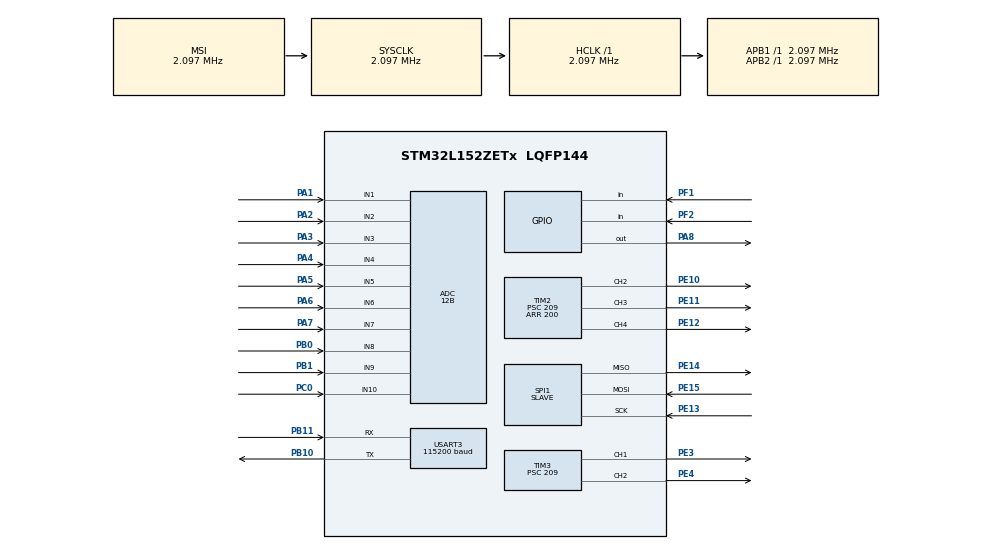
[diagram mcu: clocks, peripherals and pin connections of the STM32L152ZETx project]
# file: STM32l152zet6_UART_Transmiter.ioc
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ADC.Channel-0\#ChannelRegularConversion=ADC_CHANNEL_1
ADC.Channel-10\#ChannelRegularConversion=ADC_CHANNEL_10
ADC.Channel-2\#ChannelRegularConversion=ADC_CHANNEL_2
ADC.Channel-3\#ChannelRegularConversion=ADC_CHANNEL_3
ADC.Channel-4\#ChannelRegularConversion=ADC_CHANNEL_4
ADC.Channel-5\#ChannelRegularConversion=ADC_CHANNEL_5
ADC.Channel-6\#ChannelRegularConversion=ADC_CHANNEL_6
ADC.Channel-7\#ChannelRegularConversion=ADC_CHANNEL_7
ADC.Channel-8\#ChannelRegularConversion=ADC_CHANNEL_8
ADC.Channel-9\#ChannelRegularConversion=ADC_CHANNEL_9
ADC.ChannelsBank=ADC_CHANNELS_BANK_A
ADC.ClockPrescaler=ADC_CLOCK_ASYNC_DIV1
ADC.ContinuousConvMode=ENABLE
ADC.DMAContinuousRequests=ENABLE
ADC.DataAlign=ADC_DATAALIGN_RIGHT
ADC.DiscontinuousConvMode=DISABLE
ADC.EOCSelection=ADC_EOC_SEQ_CONV
ADC.EnableAnalogWatchDog=false
ADC.ExternalTrigConv=ADC_SOFTWARE_START
ADC.ExternalTrigConvEdge=ADC_EXTERNALTRIGCONVEDGE_NONE
ADC.InjNumberOfConversion=0
ADC.LowPowerAutoPowerOff=ADC_AUTOPOWEROFF_DISABLE
ADC.LowPowerAutoWait=ADC_AUTOWAIT_DISABLE
ADC.NbrOfConversion=10
ADC.NbrOfConversionFlag=1
ADC.Rank-0\#ChannelRegularConversion=1
ADC.Rank-10\#ChannelRegularConversion=10
ADC.Rank-2\#ChannelRegularConversion=2
ADC.Rank-3\#ChannelRegularConversion=3
ADC.Rank-4\#ChannelRegularConversion=4
ADC.Rank-5\#ChannelRegularConversion=5
ADC.Rank-6\#ChannelRegularConversion=6
ADC.Rank-7\#ChannelRegularConversion=7
ADC.Rank-8\#ChannelRegularConversion=8
ADC.Rank-9\#ChannelRegularConversion=9
ADC.Resolution=ADC_RESOLUTION_12B
ADC.SamplingTime-0\#ChannelRegularConversion=ADC_SAMPLETIME_384CYCLES
ADC.SamplingTime-10\#ChannelRegularConversion=ADC_SAMPLETIME_384CYCLES
ADC.SamplingTime-2\#ChannelRegularConversion=ADC_SAMPLETIME_384CYCLES
ADC.SamplingTime-3\#ChannelRegularConversion=ADC_SAMPLETIME_384CYCLES
ADC.SamplingTime-4\#ChannelRegularConversion=ADC_SAMPLETIME_384CYCLES
ADC.SamplingTime-5\#ChannelRegularConversion=ADC_SAMPLETIME_384CYCLES
ADC.SamplingTime-6\#ChannelRegularConversion=ADC_SAMPLETIME_384CYCLES
ADC.SamplingTime-7\#ChannelRegularConversion=ADC_SAMPLETIME_384CYCLES
ADC.SamplingTime-8\#ChannelRegularConversion=ADC_SAMPLETIME_384CYCLES
ADC.SamplingTime-9\#ChannelRegularConversion=ADC_SAMPLETIME_384CYCLES
ADC.ScanConvMode=ADC_SCAN_ENABLE
Dma.ADC.2.Direction=DMA_PERIPH_TO_MEMORY
Dma.ADC.2.Instance=DMA1_Channel1
Dma.ADC.2.MemDataAlignment=DMA_MDATAALIGN_WORD
Dma.ADC.2.MemInc=DMA_MINC_ENABLE
Dma.ADC.2.Mode=DMA_CIRCULAR
Dma.ADC.2.PeriphDataAlignment=DMA_PDATAALIGN_WORD
Dma.ADC.2.PeriphInc=DMA_PINC_DISABLE
Dma.ADC.2.Priority=DMA_PRIORITY_LOW
Dma.Request0=SPI1_RX
Dma.Request1=USART3_RX
Dma.Request2=ADC
Dma.SPI1_RX.0.Direction=DMA_PERIPH_TO_MEMORY
Dma.SPI1_RX.0.Instance=DMA1_Channel2
Dma.SPI1_RX.0.MemDataAlignment=DMA_MDATAALIGN_BYTE
Dma.SPI1_RX.0.MemInc=DMA_MINC_ENABLE
Dma.SPI1_RX.0.Mode=DMA_CIRCULAR
Dma.SPI1_RX.0.PeriphDataAlignment=DMA_PDATAALIGN_BYTE
Dma.SPI1_RX.0.PeriphInc=DMA_PINC_DISABLE
Dma.SPI1_RX.0.Priority=DMA_PRIORITY_LOW
Dma.USART3_RX.1.Direction=DMA_PERIPH_TO_MEMORY
Dma.USART3_RX.1.Instance=DMA1_Channel3
Dma.USART3_RX.1.MemDataAlignment=DMA_MDATAALIGN_BYTE
Dma.USART3_RX.1.MemInc=DMA_MINC_ENABLE
Dma.USART3_RX.1.Mode=DMA_CIRCULAR
Dma.USART3_RX.1.PeriphDataAlignment=DMA_PDATAALIGN_BYTE
Dma.USART3_RX.1.PeriphInc=DMA_PINC_DISABLE
Dma.USART3_RX.1.Priority=DMA_PRIORITY_LOW
Mcu.Family=STM32L1
Mcu.Name=STM32L152ZETx
Mcu.Package=LQFP144
NVIC.ADC1_IRQn=true\:0\:0\:false\:false\:true\:true
NVIC.DMA1_Channel1_IRQn=true\:0\:0\:false\:false\:true\:false
NVIC.DMA1_Channel2_IRQn=true\:0\:0\:false\:false\:true\:false
NVIC.DMA1_Channel3_IRQn=true\:0\:0\:false\:false\:true\:false
NVIC.PriorityGroup=NVIC_PRIORITYGROUP_4
NVIC.SPI1_IRQn=true\:0\:0\:false\:false\:true\:true
NVIC.TIM2_IRQn=true\:0\:0\:false\:false\:true\:true
NVIC.TIM3_IRQn=true\:0\:0\:false\:false\:true\:true
NVIC.TIM7_IRQn=true\:0\:0\:false\:false\:true\:true
NVIC.USART3_IRQn=true\:0\:0\:false\:false\:true\:true
PA1.Mode=IN1
PA1.Signal=ADC_IN1
PA2.Mode=IN2
PA2.Signal=ADC_IN2
PA3.Mode=IN3
PA3.Signal=ADC_IN3
PA4.Mode=IN4
PA4.Signal=ADC_IN4
PA5.Mode=IN5
PA5.Signal=ADC_IN5
PA6.Mode=IN6
PA6.Signal=ADC_IN6
PA7.Mode=IN7
PA7.Signal=ADC_IN7
PA8.Signal=GPIO_Output
PB0.Mode=IN8
PB0.Signal=ADC_IN8
PB1.Mode=IN9
PB1.Signal=ADC_IN9
PB10.Mode=Asynchronous
PB10.Signal=USART3_TX
PB11.Mode=Asynchronous
PB11.Signal=USART3_RX
PC0.Mode=IN10
PC0.Signal=ADC_IN10
PE10.Signal=S_TIM2_CH2
PE11.Signal=S_TIM2_CH3
PE12.Signal=S_TIM2_CH4
PE13.Mode=Full_Duplex_Slave
PE13.Signal=SPI1_SCK
PE14.Mode=Full_Duplex_Slave
PE14.Signal=SPI1_MISO
PE15.Mode=Full_Duplex_Slave
PE15.Signal=SPI1_MOSI
PE3.Signal=S_TIM3_CH1
PE4.Signal=S_TIM3_CH2
PF1.Signal=GPIO_Input
PF2.Signal=GPIO_Input
ProjectManager.HeapSize=0x200
ProjectManager.StackSize=0x400
ProjectManager.TargetToolchain=SW4STM32
RCC.AHBFreq_Value=2097000
RCC.APB1Freq_Value=2097000
RCC.APB2Freq_Value=2097000
RCC.HSE_VALUE=24000000
RCC.HSI_VALUE=16000000
RCC.LSE_VALUE=32768
RCC.MSI_VALUE=2097000
RCC.SYSCLKFreq_VALUE=2097000
RCC.VCOOutputFreq_Value=48000000
SH.S_TIM2_CH2.0=TIM2_CH2,PWM Generation2 CH2
SH.S_TIM2_CH3.0=TIM2_CH3,PWM Generation3 CH3
SH.S_TIM2_CH4.0=TIM2_CH4,PWM Generation4 CH4
SH.S_TIM3_CH1.0=TIM3_CH1,PWM Generation1 CH1
SH.S_TIM3_CH2.0=TIM3_CH2,PWM Generation2 CH2
SPI1.Direction=SPI_DIRECTION_2LINES
SPI1.Mode=SPI_MODE_SLAVE
SPI1.VirtualType=VM_SLAVE
TIM2.Channel-PWM\ Generation2\ CH2=TIM_CHANNEL_2
TIM2.Channel-PWM\ Generation3\ CH3=TIM_CHANNEL_3
TIM2.Channel-PWM\ Generation4\ CH4=TIM_CHANNEL_4
TIM2.Period=200
TIM2.Prescaler=209
TIM3.Channel-PWM\ Generation1\ CH1=TIM_CHANNEL_1
TIM3.Channel-PWM\ Generation2\ CH2=TIM_CHANNEL_2
TIM3.Period=200
TIM3.Prescaler=209
TIM7.Period=100
TIM7.Prescaler=2097
USART3.BaudRate=115200
USART3.VirtualMode=VM_ASYNC
VP_ADC_Channel3SpeedFast.Mode=Channel3SpeedFast
VP_ADC_Channel8SpeedFast.Mode=Channel8SpeedFast
VP_TIM2_VS_ClockSourceINT.Mode=Internal
VP_TIM3_VS_ClockSourceINT.Mode=Internal
VP_TIM7_VS_ClockSourceINT.Mode=Enable_Timer
board=STM32l152zet6_UART_Transmiter

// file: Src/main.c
/**
  ******************************************************************************
  * File Name          : main.c
  * Description        : Main program body
  ******************************************************************************
  ** This notice applies to any and all portions of this file
  * that are not between comment pairs USER CODE BEGIN and
  * USER CODE END. Other portions of this file, whether
  * inserted by the user or by software development tools
  * are owned by their respective copyright owners.
  *
  * COPYRIGHT(c) 2018 STMicroelectronics
  *
  * Redistribution and use in source and binary forms, with or without modification,
  * are permitted provided that the following conditions are met:
  *   1. Redistributions of source code must retain the above copyright notice,
  *      this list of conditions and the following disclaimer.
  *   2. Redistributions in binary form must reproduce the above copyright notice,
  *      this list of conditions and the following disclaimer in the documentation
  *      and/or other materials provided with the distribution.
  *   3. Neither the name of STMicroelectronics nor the names of its contributors
  *      may be used to endorse or promote products derived from this software
  *      without specific prior written permission.
  *
  * THIS SOFTWARE IS PROVIDED BY THE COPYRIGHT HOLDERS AND CONTRIBUTORS "AS IS"
  * AND ANY EXPRESS OR IMPLIED WARRANTIES, INCLUDING, BUT NOT LIMITED TO, THE
  * IMPLIED WARRANTIES OF MERCHANTABILITY AND FITNESS FOR A PARTICULAR PURPOSE ARE
  * DISCLAIMED. IN NO EVENT SHALL THE COPYRIGHT HOLDER OR CONTRIBUTORS BE LIABLE
  * FOR ANY DIRECT, INDIRECT, INCIDENTAL, SPECIAL, EXEMPLARY, OR CONSEQUENTIAL
  * DAMAGES (INCLUDING, BUT NOT LIMITED TO, PROCUREMENT OF SUBSTITUTE GOODS OR
  * SERVICES; LOSS OF USE, DATA, OR PROFITS; OR BUSINESS INTERRUPTION) HOWEVER
  * CAUSED AND ON ANY THEORY OF LIABILITY, WHETHER IN CONTRACT, STRICT LIABILITY,
  * OR TORT (INCLUDING NEGLIGENCE OR OTHERWISE) ARISING IN ANY WAY OUT OF THE USE
  * OF THIS SOFTWARE, EVEN IF ADVISED OF THE POSSIBILITY OF SUCH DAMAGE.
  *
  ******************************************************************************
  */
#include "main.h"
#include "stm32l1xx_hal.h"

ADC_HandleTypeDef hadc;
DMA_HandleTypeDef hdma_adc;

SPI_HandleTypeDef hspi1;
DMA_HandleTypeDef hdma_spi1_rx;

TIM_HandleTypeDef htim2;
TIM_HandleTypeDef htim3;
TIM_HandleTypeDef htim7;

UART_HandleTypeDef huart3;
DMA_HandleTypeDef hdma_usart3_rx;

/* USER CODE BEGIN PV */
/* Private variables ---------------------------------------------------------*/
#include "stm32l152c_discovery.h"
#define servoInit 5

static GPIO_InitTypeDef GPIO_InitStruct;
int ready=0;
int adcValue=0;
uint32_t adc[10];
uint32_t servo[5];
uint32_t spiData[5];
int receivedValue=0;
/* USER CODE END PV */

void SystemClock_Config(void);
static void MX_GPIO_Init(void);
static void MX_DMA_Init(void);
static void MX_ADC_Init(void);
static void MX_TIM2_Init(void);
static void MX_TIM7_Init(void);
static void MX_TIM3_Init(void);
static void MX_USART3_UART_Init(void);
static void MX_SPI1_Init(void);

void HAL_TIM_MspPostInit(TIM_HandleTypeDef *htim);

/* USER CODE BEGIN PFP */
/* Private function prototypes -----------------------------------------------*/

/* USER CODE END PFP */

/* USER CODE BEGIN 0 */
void setupLED()
{
  LED3_GPIO_CLK_ENABLE();
  LED4_GPIO_CLK_ENABLE();

  /*Configure GPIO pin : LED_3_Pin */
  GPIO_InitStruct.Pin = LED3_PIN;
  GPIO_InitStruct.Mode = GPIO_MODE_OUTPUT_PP;
  GPIO_InitStruct.Pull = GPIO_NOPULL;
  GPIO_InitStruct.Speed = GPIO_SPEED_FREQ_LOW;
  HAL_GPIO_Init(LED3_GPIO_PORT, &GPIO_InitStruct);

  GPIO_InitStruct.Pin = LED4_PIN;
  GPIO_InitStruct.Mode = GPIO_MODE_OUTPUT_PP;
  GPIO_InitStruct.Pull = GPIO_NOPULL;
  GPIO_InitStruct.Speed = GPIO_SPEED_FREQ_LOW;
  HAL_GPIO_Init(LED4_GPIO_PORT, &GPIO_InitStruct);

  GPIO_InitStruct.Pin = GPIO_PIN_8;
  GPIO_InitStruct.Mode = GPIO_MODE_OUTPUT_PP;
  GPIO_InitStruct.Pull = GPIO_NOPULL;
  GPIO_InitStruct.Speed = GPIO_SPEED_FREQ_LOW;
  HAL_GPIO_Init(GPIOA, &GPIO_InitStruct);
}
void HAL_TIM_PeriodElapsedCallback(TIM_HandleTypeDef *htim)
{
	if(htim->Instance == TIM2) {
		if(servo[0] <= 3600) {
		    turnServo1(3600-servo[0]);
		}
		if(servo[1] <= 2300) {
		    turnServo2(2300-servo[1]);
		}
		if(servo[2] < 3700) {
		    turnServo3(3700-servo[2]);
		}
		if(servo[3] < 4100) {
		    turnServo4(4100-servo[3]);
		}
		if(servo[4] < 3600) {
		    turnServo5(3600-servo[4]);
		}
	} else if(htim->Instance == TIM7) {
		HAL_UART_Transmit(&huart3, adc, sizeof(adc), 100);
	}
}
void HAL_ADC_ConvCpltCallback(ADC_HandleTypeDef* hadc)
{
}
void turnServo1(int v)
{
  // Potentiometer 90 degree, ADC range = 3600 ~ 3000
  // Frequency = 50Hz, PWM range: 5 ~ 25 => 2.5% ~ 12.5% Duty Cycle
  // 30 = 600 / (25-5)
  int pwm = servoInit + (v / 30);
  __HAL_TIM_SetCompare(&htim2, TIM_CHANNEL_2, pwm);
}
void turnServo2(int v)
{
  // Potentiometer 90 degree, ADC range = 2300 ~ 1300
  int pwm = v / 50;
  pwm = abs(20-pwm) + servoInit;
  __HAL_TIM_SetCompare(&htim2, TIM_CHANNEL_3, pwm);
}
void turnServo3(int v)
{
  // Potentiometer 90 degree, ADC range = 3700 ~ 2600
  int pwm = v / 60;
  pwm = abs(20-pwm) + servoInit;
  __HAL_TIM_SetCompare(&htim2, TIM_CHANNEL_4, pwm);
}
void turnServo4(int v)
{
  // Potentiometer 90 degree, ADC range = 4100 ~ 2800
  int pwm = servoInit + (v / 65);
  __HAL_TIM_SetCompare(&htim3, TIM_CHANNEL_1, pwm);
}
void turnServo5(int v)
{
  // Potentiometer 90 degree, ADC range = 3600 ~ 1900
  int pwm = v / 85;
  pwm = abs(20-pwm) + servoInit;
  __HAL_TIM_SetCompare(&htim3, TIM_CHANNEL_2, pwm);
}
void HAL_UART_RxCpltCallback(UART_HandleTypeDef *huart)
{
}
void HAL_UART_RxHalfCpltCallback(UART_HandleTypeDef *huart)
{
}

/* USER CODE END 0 */

int main(void)
{

  /* MCU Configuration----------------------------------------------------------*/

  /* Reset of all peripherals, Initializes the Flash interface and the Systick. */
  HAL_Init();

  /* Configure the system clock */
  SystemClock_Config();

  /* USER CODE BEGIN SysInit */
  HAL_Delay(3000);
  /* USER CODE END SysInit */

  /* Initialize all configured peripherals */
  MX_GPIO_Init();
  MX_DMA_Init();
  MX_ADC_Init();
  MX_TIM2_Init();
  MX_TIM7_Init();
  MX_TIM3_Init();
  MX_USART3_UART_Init();
  MX_SPI1_Init();

  /* USER CODE BEGIN 2 */
  setupLED();
  HAL_TIM_PWM_Start(&htim2, TIM_CHANNEL_2);
  HAL_TIM_PWM_Start(&htim2, TIM_CHANNEL_3);
  HAL_TIM_PWM_Start(&htim2, TIM_CHANNEL_4);
  HAL_TIM_PWM_Start(&htim3, TIM_CHANNEL_1);
  HAL_TIM_PWM_Start(&htim3, TIM_CHANNEL_2);
  HAL_TIM_Base_Start_IT(&htim2);
  HAL_TIM_Base_Start_IT(&htim7);
  HAL_ADC_Start_DMA(&hadc, adc, 10);
  HAL_UART_Receive_DMA(&huart3, servo, sizeof(servo));

  /* USER CODE END 2 */

  /* Infinite loop */
  while (1)
  {

  /* USER CODE BEGIN 3 */
		HAL_GPIO_TogglePin(LED3_GPIO_PORT, LED3_PIN);
		HAL_Delay(100);
  }
  /* USER CODE END 3 */

}

/** System Clock Configuration
*/
void SystemClock_Config(void)
{

  RCC_OscInitTypeDef RCC_OscInitStruct;
  RCC_ClkInitTypeDef RCC_ClkInitStruct;

    /**Configure the main internal regulator output voltage
    */
  __HAL_PWR_VOLTAGESCALING_CONFIG(PWR_REGULATOR_VOLTAGE_SCALE1);

    /**Initializes the CPU, AHB and APB busses clocks
    */
  RCC_OscInitStruct.OscillatorType = RCC_OSCILLATORTYPE_HSI|RCC_OSCILLATORTYPE_MSI;
  RCC_OscInitStruct.HSIState = RCC_HSI_ON;
  RCC_OscInitStruct.HSICalibrationValue = 16;
  RCC_OscInitStruct.MSIState = RCC_MSI_ON;
  RCC_OscInitStruct.MSICalibrationValue = 0;
  RCC_OscInitStruct.MSIClockRange = RCC_MSIRANGE_5;
  RCC_OscInitStruct.PLL.PLLState = RCC_PLL_NONE;
  if (HAL_RCC_OscConfig(&RCC_OscInitStruct) != HAL_OK)
  {
    _Error_Handler(__FILE__, __LINE__);
  }

    /**Initializes the CPU, AHB and APB busses clocks
    */
  RCC_ClkInitStruct.ClockType = RCC_CLOCKTYPE_HCLK|RCC_CLOCKTYPE_SYSCLK
                              |RCC_CLOCKTYPE_PCLK1|RCC_CLOCKTYPE_PCLK2;
  RCC_ClkInitStruct.SYSCLKSource = RCC_SYSCLKSOURCE_MSI;
  RCC_ClkInitStruct.AHBCLKDivider = RCC_SYSCLK_DIV1;
  RCC_ClkInitStruct.APB1CLKDivider = RCC_HCLK_DIV1;
  RCC_ClkInitStruct.APB2CLKDivider = RCC_HCLK_DIV1;

  if (HAL_RCC_ClockConfig(&RCC_ClkInitStruct, FLASH_LATENCY_0) != HAL_OK)
  {
    _Error_Handler(__FILE__, __LINE__);
  }

    /**Configure the Systick interrupt time
    */
  HAL_SYSTICK_Config(HAL_RCC_GetHCLKFreq()/1000);

    /**Configure the Systick
    */
  HAL_SYSTICK_CLKSourceConfig(SYSTICK_CLKSOURCE_HCLK);

  /* SysTick_IRQn interrupt configuration */
  HAL_NVIC_SetPriority(SysTick_IRQn, 0, 0);
}

/* ADC init function */
static void MX_ADC_Init(void)
{

  ADC_ChannelConfTypeDef sConfig;

    /**Configure the global features of the ADC (Clock, Resolution, Data Alignment and number of conversion)
    */
  hadc.Instance = ADC1;
  hadc.Init.ClockPrescaler = ADC_CLOCK_ASYNC_DIV1;
  hadc.Init.Resolution = ADC_RESOLUTION_12B;
  hadc.Init.DataAlign = ADC_DATAALIGN_RIGHT;
  hadc.Init.ScanConvMode = ADC_SCAN_ENABLE;
  hadc.Init.EOCSelection = ADC_EOC_SEQ_CONV;
  hadc.Init.LowPowerAutoWait = ADC_AUTOWAIT_DISABLE;
  hadc.Init.LowPowerAutoPowerOff = ADC_AUTOPOWEROFF_DISABLE;
  hadc.Init.ChannelsBank = ADC_CHANNELS_BANK_A;
  hadc.Init.ContinuousConvMode = ENABLE;
  hadc.Init.NbrOfConversion = 10;
  hadc.Init.DiscontinuousConvMode = DISABLE;
  hadc.Init.ExternalTrigConv = ADC_SOFTWARE_START;
  hadc.Init.ExternalTrigConvEdge = ADC_EXTERNALTRIGCONVEDGE_NONE;
  hadc.Init.DMAContinuousRequests = ENABLE;
  if (HAL_ADC_Init(&hadc) != HAL_OK)
  {
    _Error_Handler(__FILE__, __LINE__);
  }

    /**Configure the channel speed in Fast mode
    */
  __HAL_ADC_CHANNEL_SPEED_FAST(ADC_CHANNEL_3);

    /**Configure the channel speed in Fast mode
    */
  __HAL_ADC_CHANNEL_SPEED_FAST(ADC_CHANNEL_8);

    /**Configure for the selected ADC regular channel its corresponding rank in the sequencer and its sample time.
    */
  sConfig.Channel = ADC_CHANNEL_1;
  sConfig.Rank = 1;
  sConfig.SamplingTime = ADC_SAMPLETIME_384CYCLES;
  if (HAL_ADC_ConfigChannel(&hadc, &sConfig) != HAL_OK)
  {
    _Error_Handler(__FILE__, __LINE__);
  }

    /**Configure for the selected ADC regular channel its corresponding rank in the sequencer and its sample time.
    */
  sConfig.Channel = ADC_CHANNEL_2;
  sConfig.Rank = 2;
  if (HAL_ADC_ConfigChannel(&hadc, &sConfig) != HAL_OK)
  {
    _Error_Handler(__FILE__, __LINE__);
  }

    /**Configure for the selected ADC regular channel its corresponding rank in the sequencer and its sample time.
    */
  sConfig.Channel = ADC_CHANNEL_3;
  sConfig.Rank = 3;
  if (HAL_ADC_ConfigChannel(&hadc, &sConfig) != HAL_OK)
  {
    _Error_Handler(__FILE__, __LINE__);
  }

    /**Configure for the selected ADC regular channel its corresponding rank in the sequencer and its sample time.
    */
  sConfig.Channel = ADC_CHANNEL_4;
  sConfig.Rank = 4;
  if (HAL_ADC_ConfigChannel(&hadc, &sConfig) != HAL_OK)
  {
    _Error_Handler(__FILE__, __LINE__);
  }

    /**Configure for the selected ADC regular channel its corresponding rank in the sequencer and its sample time.
    */
  sConfig.Channel = ADC_CHANNEL_5;
  sConfig.Rank = 5;
  if (HAL_ADC_ConfigChannel(&hadc, &sConfig) != HAL_OK)
  {
    _Error_Handler(__FILE__, __LINE__);
  }

    /**Configure for the selected ADC regular channel its corresponding rank in the sequencer and its sample time.
    */
  sConfig.Channel = ADC_CHANNEL_6;
  sConfig.Rank = 6;
  if (HAL_ADC_ConfigChannel(&hadc, &sConfig) != HAL_OK)
  {
    _Error_Handler(__FILE__, __LINE__);
  }

    /**Configure for the selected ADC regular channel its corresponding rank in the sequencer and its sample time.
    */
  sConfig.Channel = ADC_CHANNEL_7;
  sConfig.Rank = 7;
  if (HAL_ADC_ConfigChannel(&hadc, &sConfig) != HAL_OK)
  {
    _Error_Handler(__FILE__, __LINE__);
  }

    /**Configure for the selected ADC regular channel its corresponding rank in the sequencer and its sample time.
    */
  sConfig.Channel = ADC_CHANNEL_8;
  sConfig.Rank = 8;
  if (HAL_ADC_ConfigChannel(&hadc, &sConfig) != HAL_OK)
  {
    _Error_Handler(__FILE__, __LINE__);
  }

    /**Configure for the selected ADC regular channel its corresponding rank in the sequencer and its sample time.
    */
  sConfig.Channel = ADC_CHANNEL_9;
  sConfig.Rank = 9;
  if (HAL_ADC_ConfigChannel(&hadc, &sConfig) != HAL_OK)
  {
    _Error_Handler(__FILE__, __LINE__);
  }

    /**Configure for the selected ADC regular channel its corresponding rank in the sequencer and its sample time.
    */
  sConfig.Channel = ADC_CHANNEL_10;
  sConfig.Rank = 10;
  if (HAL_ADC_ConfigChannel(&hadc, &sConfig) != HAL_OK)
  {
    _Error_Handler(__FILE__, __LINE__);
  }

}

/* SPI1 init function */
static void MX_SPI1_Init(void)
{

  /* SPI1 parameter configuration*/
  hspi1.Instance = SPI1;
  hspi1.Init.Mode = SPI_MODE_SLAVE;
  hspi1.Init.Direction = SPI_DIRECTION_2LINES;
  hspi1.Init.DataSize = SPI_DATASIZE_8BIT;
  hspi1.Init.CLKPolarity = SPI_POLARITY_LOW;
  hspi1.Init.CLKPhase = SPI_PHASE_1EDGE;
  hspi1.Init.NSS = SPI_NSS_SOFT;
  hspi1.Init.FirstBit = SPI_FIRSTBIT_MSB;
  hspi1.Init.TIMode = SPI_TIMODE_DISABLE;
  hspi1.Init.CRCCalculation = SPI_CRCCALCULATION_DISABLE;
  hspi1.Init.CRCPolynomial = 10;
  if (HAL_SPI_Init(&hspi1) != HAL_OK)
  {
    _Error_Handler(__FILE__, __LINE__);
  }

}

/* TIM2 init function */
static void MX_TIM2_Init(void)
{

  TIM_ClockConfigTypeDef sClockSourceConfig;
  TIM_MasterConfigTypeDef sMasterConfig;
  TIM_OC_InitTypeDef sConfigOC;

  htim2.Instance = TIM2;
  htim2.Init.Prescaler = 209;
  htim2.Init.CounterMode = TIM_COUNTERMODE_UP;
  htim2.Init.Period = 200;
  htim2.Init.ClockDivision = TIM_CLOCKDIVISION_DIV1;
  if (HAL_TIM_Base_Init(&htim2) != HAL_OK)
  {
    _Error_Handler(__FILE__, __LINE__);
  }

  sClockSourceConfig.ClockSource = TIM_CLOCKSOURCE_INTERNAL;
  if (HAL_TIM_ConfigClockSource(&htim2, &sClockSourceConfig) != HAL_OK)
  {
    _Error_Handler(__FILE__, __LINE__);
  }

  if (HAL_TIM_PWM_Init(&htim2) != HAL_OK)
  {
    _Error_Handler(__FILE__, __LINE__);
  }

  sMasterConfig.MasterOutputTrigger = TIM_TRGO_RESET;
  sMasterConfig.MasterSlaveMode = TIM_MASTERSLAVEMODE_DISABLE;
  if (HAL_TIMEx_MasterConfigSynchronization(&htim2, &sMasterConfig) != HAL_OK)
  {
    _Error_Handler(__FILE__, __LINE__);
  }

  sConfigOC.OCMode = TIM_OCMODE_PWM1;
  sConfigOC.Pulse = 0;
  sConfigOC.OCPolarity = TIM_OCPOLARITY_HIGH;
  sConfigOC.OCFastMode = TIM_OCFAST_DISABLE;
  if (HAL_TIM_PWM_ConfigChannel(&htim2, &sConfigOC, TIM_CHANNEL_2) != HAL_OK)
  {
    _Error_Handler(__FILE__, __LINE__);
  }

  if (HAL_TIM_PWM_ConfigChannel(&htim2, &sConfigOC, TIM_CHANNEL_3) != HAL_OK)
  {
    _Error_Handler(__FILE__, __LINE__);
  }

  if (HAL_TIM_PWM_ConfigChannel(&htim2, &sConfigOC, TIM_CHANNEL_4) != HAL_OK)
  {
    _Error_Handler(__FILE__, __LINE__);
  }

  HAL_TIM_MspPostInit(&htim2);

}

/* TIM3 init function */
static void MX_TIM3_Init(void)
{

  TIM_ClockConfigTypeDef sClockSourceConfig;
  TIM_MasterConfigTypeDef sMasterConfig;
  TIM_OC_InitTypeDef sConfigOC;

  htim3.Instance = TIM3;
  htim3.Init.Prescaler = 209;
  htim3.Init.CounterMode = TIM_COUNTERMODE_UP;
  htim3.Init.Period = 200;
  htim3.Init.ClockDivision = TIM_CLOCKDIVISION_DIV1;
  if (HAL_TIM_Base_Init(&htim3) != HAL_OK)
  {
    _Error_Handler(__FILE__, __LINE__);
  }

  sClockSourceConfig.ClockSource = TIM_CLOCKSOURCE_INTERNAL;
  if (HAL_TIM_ConfigClockSource(&htim3, &sClockSourceConfig) != HAL_OK)
  {
    _Error_Handler(__FILE__, __LINE__);
  }

  if (HAL_TIM_PWM_Init(&htim3) != HAL_OK)
  {
    _Error_Handler(__FILE__, __LINE__);
  }

  sMasterConfig.MasterOutputTrigger = TIM_TRGO_RESET;
  sMasterConfig.MasterSlaveMode = TIM_MASTERSLAVEMODE_DISABLE;
  if (HAL_TIMEx_MasterConfigSynchronization(&htim3, &sMasterConfig) != HAL_OK)
  {
    _Error_Handler(__FILE__, __LINE__);
  }

  sConfigOC.OCMode = TIM_OCMODE_PWM1;
  sConfigOC.Pulse = 0;
  sConfigOC.OCPolarity = TIM_OCPOLARITY_HIGH;
  sConfigOC.OCFastMode = TIM_OCFAST_DISABLE;
  if (HAL_TIM_PWM_ConfigChannel(&htim3, &sConfigOC, TIM_CHANNEL_1) != HAL_OK)
  {
    _Error_Handler(__FILE__, __LINE__);
  }

  if (HAL_TIM_PWM_ConfigChannel(&htim3, &sConfigOC, TIM_CHANNEL_2) != HAL_OK)
  {
    _Error_Handler(__FILE__, __LINE__);
  }

  HAL_TIM_MspPostInit(&htim3);

}

/* TIM7 init function */
static void MX_TIM7_Init(void)
{

  TIM_MasterConfigTypeDef sMasterConfig;

  htim7.Instance = TIM7;
  htim7.Init.Prescaler = 2097;
  htim7.Init.CounterMode = TIM_COUNTERMODE_UP;
  htim7.Init.Period = 100;
  if (HAL_TIM_Base_Init(&htim7) != HAL_OK)
  {
    _Error_Handler(__FILE__, __LINE__);
  }

  sMasterConfig.MasterOutputTrigger = TIM_TRGO_RESET;
  sMasterConfig.MasterSlaveMode = TIM_MASTERSLAVEMODE_DISABLE;
  if (HAL_TIMEx_MasterConfigSynchronization(&htim7, &sMasterConfig) != HAL_OK)
  {
    _Error_Handler(__FILE__, __LINE__);
  }

}

/* USART3 init function */
static void MX_USART3_UART_Init(void)
{

  huart3.Instance = USART3;
  huart3.Init.BaudRate = 115200;
  huart3.Init.WordLength = UART_WORDLENGTH_8B;
  huart3.Init.StopBits = UART_STOPBITS_1;
  huart3.Init.Parity = UART_PARITY_NONE;
  huart3.Init.Mode = UART_MODE_TX_RX;
  huart3.Init.HwFlowCtl = UART_HWCONTROL_NONE;
  huart3.Init.OverSampling = UART_OVERSAMPLING_16;
  if (HAL_UART_Init(&huart3) != HAL_OK)
  {
    _Error_Handler(__FILE__, __LINE__);
  }

}

static void MX_DMA_Init(void)
{
  /* DMA controller clock enable */
  __HAL_RCC_DMA1_CLK_ENABLE();

  /* DMA interrupt init */
  /* DMA1_Channel1_IRQn interrupt configuration */
  HAL_NVIC_SetPriority(DMA1_Channel1_IRQn, 0, 0);
  HAL_NVIC_EnableIRQ(DMA1_Channel1_IRQn);
  /* DMA1_Channel2_IRQn interrupt configuration */
  HAL_NVIC_SetPriority(DMA1_Channel2_IRQn, 0, 0);
  HAL_NVIC_EnableIRQ(DMA1_Channel2_IRQn);
  /* DMA1_Channel3_IRQn interrupt configuration */
  HAL_NVIC_SetPriority(DMA1_Channel3_IRQn, 0, 0);
  HAL_NVIC_EnableIRQ(DMA1_Channel3_IRQn);

}

/** Configure pins as
        * Analog
        * Input
        * Output
        * EVENT_OUT
        * EXTI
*/
static void MX_GPIO_Init(void)
{

  GPIO_InitTypeDef GPIO_InitStruct;

  /* GPIO Ports Clock Enable */
  __HAL_RCC_GPIOE_CLK_ENABLE();
  __HAL_RCC_GPIOF_CLK_ENABLE();
  __HAL_RCC_GPIOC_CLK_ENABLE();
  __HAL_RCC_GPIOA_CLK_ENABLE();
  __HAL_RCC_GPIOB_CLK_ENABLE();

  /*Configure GPIO pin Output Level */
  HAL_GPIO_WritePin(GPIOA, GPIO_PIN_8, GPIO_PIN_RESET);

  /*Configure GPIO pins : PF1 PF2 */
  GPIO_InitStruct.Pin = GPIO_PIN_1|GPIO_PIN_2;
  GPIO_InitStruct.Mode = GPIO_MODE_INPUT;
  GPIO_InitStruct.Pull = GPIO_NOPULL;
  HAL_GPIO_Init(GPIOF, &GPIO_InitStruct);

  /*Configure GPIO pin : PA8 */
  GPIO_InitStruct.Pin = GPIO_PIN_8;
  GPIO_InitStruct.Mode = GPIO_MODE_OUTPUT_PP;
  GPIO_InitStruct.Pull = GPIO_NOPULL;
  GPIO_InitStruct.Speed = GPIO_SPEED_FREQ_LOW;
  HAL_GPIO_Init(GPIOA, &GPIO_InitStruct);

}

void _Error_Handler(char * file, int line)
{
  while(1)
  {
  }
}

/************************ (C) COPYRIGHT STMicroelectronics *****END OF FILE****/
